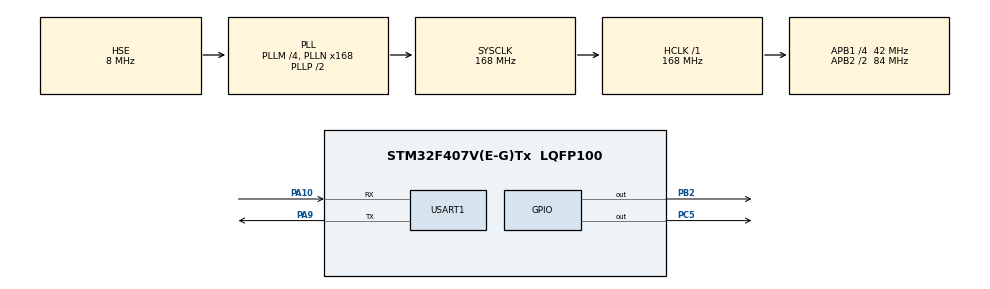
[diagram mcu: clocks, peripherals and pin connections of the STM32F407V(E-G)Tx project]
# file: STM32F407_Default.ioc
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ADC1.Channel-0\#ChannelRegularConversion=ADC_CHANNEL_TEMPSENSOR
ADC1.Channel-1\#ChannelRegularConversion=ADC_CHANNEL_VBAT
ADC1.ClockPrescaler=ADC_CLOCK_SYNC_PCLK_DIV4
ADC1.InjNumberOfConversion=0
ADC1.NbrOfConversion=2
ADC1.NbrOfConversionFlag=1
ADC1.Rank-0\#ChannelRegularConversion=1
ADC1.Rank-1\#ChannelRegularConversion=2
ADC1.SamplingTime-0\#ChannelRegularConversion=ADC_SAMPLETIME_480CYCLES
ADC1.SamplingTime-1\#ChannelRegularConversion=ADC_SAMPLETIME_480CYCLES
ADC1.master=1
Mcu.Family=STM32F4
Mcu.Name=STM32F407V(E-G)Tx
Mcu.Package=LQFP100
NVIC.PriorityGroup=NVIC_PRIORITYGROUP_4
NVIC.USART1_IRQn=true\:2\:0\:true\:false\:true\:true\:true\:true
PA10.Mode=Asynchronous
PA10.Signal=USART1_RX
PA13.Mode=Serial_Wire
PA13.Signal=SYS_JTMS-SWDIO
PA14.Mode=Serial_Wire
PA14.Signal=SYS_JTCK-SWCLK
PA9.Mode=Asynchronous
PA9.Signal=USART1_TX
PB2.GPIO_PuPd=GPIO_PULLDOWN
PB2.Signal=GPIO_Output
PC14-OSC32_IN.Mode=LSE-External-Oscillator
PC14-OSC32_IN.Signal=RCC_OSC32_IN
PC15-OSC32_OUT.Mode=LSE-External-Oscillator
PC15-OSC32_OUT.Signal=RCC_OSC32_OUT
PC5.GPIO_PuPd=GPIO_PULLDOWN
PC5.Signal=GPIO_Output
PH0-OSC_IN.Mode=HSE-External-Oscillator
PH0-OSC_IN.Signal=RCC_OSC_IN
PH1-OSC_OUT.Mode=HSE-External-Oscillator
PH1-OSC_OUT.Signal=RCC_OSC_OUT
ProjectManager.HeapSize=0x200
ProjectManager.StackSize=0x400
ProjectManager.TargetToolchain=Makefile
RCC.48MHZClocksFreq_Value=84000000
RCC.AHBFreq_Value=168000000
RCC.APB1CLKDivider=RCC_HCLK_DIV4
RCC.APB1Freq_Value=42000000
RCC.APB1TimFreq_Value=84000000
RCC.APB2CLKDivider=RCC_HCLK_DIV2
RCC.APB2Freq_Value=84000000
RCC.APB2TimFreq_Value=168000000
RCC.CortexFreq_Value=168000000
RCC.HCLKFreq_Value=168000000
RCC.HSE_VALUE=8000000
RCC.HSI_VALUE=16000000
RCC.PLLM=4
RCC.PLLN=168
RCC.PLLSourceVirtual=RCC_PLLSOURCE_HSE
RCC.RCC_RTC_Clock_Source=RCC_RTCCLKSOURCE_LSE
RCC.RCC_RTC_Clock_SourceVirtual=RCC_RTCCLKSOURCE_LSE
RCC.RCC_RTC_Clock_Source_FROM_HSE=RCC_RTCCLKSOURCE_HSE_DIV8
RCC.SYSCLKFreq_VALUE=168000000
RCC.SYSCLKSource=RCC_SYSCLKSOURCE_PLLCLK
RCC.VCOOutputFreq_Value=336000000
RTC.Date=2
RTC.Format=RTC_FORMAT_BIN
RTC.Hours=15
RTC.Minutes=20
RTC.Month=RTC_MONTH_OCTOBER
RTC.Seconds=30
RTC.WeekDay=RTC_WEEKDAY_FRIDAY
RTC.Year=26
USART1.VirtualMode=VM_ASYNC
VP_ADC1_TempSens_Input.Mode=IN-TempSens
VP_ADC1_Vbat_Input.Mode=IN-Vbat
VP_RTC_VS_RTC_Activate.Mode=RTC_Enabled
VP_RTC_VS_RTC_Calendar.Mode=RTC_Calendar
board=custom

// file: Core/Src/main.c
/* USER CODE BEGIN Header */
/**
  ******************************************************************************
  * @file           : main.c
  * @brief          : Main program body
  ******************************************************************************
  * @attention
  *
  * Copyright (c) 2026 STMicroelectronics.
  * All rights reserved.
  *
  * This software is licensed under terms that can be found in the LICENSE file
  * in the root directory of this software component.
  * If no LICENSE file comes with this software, it is provided AS-IS.
  *
  ******************************************************************************
  */
/* USER CODE END Header */
#include "main.h"
#include "adc.h"
#include "rtc.h"
#include "usart.h"
#include "gpio.h"

/* USER CODE BEGIN Includes */
#include "serial.h"
#include "lcd_shell.h"
/* USER CODE END Includes */

/* USER CODE BEGIN PTD */
#include "bsp_W25Q128.h"
#include "LCD_ILI9341.h"
#include "LCD_OLED_Style.h"
#include "led_cmd.h"
#include "adc_cmd.h"
/* USER CODE END PTD */

void SystemClock_Config(void);

int main(void)
{

  /* MCU Configuration--------------------------------------------------------*/

  /* Reset of all peripherals, Initializes the Flash interface and the Systick. */
  HAL_Init();

  /* Configure the system clock */
  SystemClock_Config();

  /* Initialize all configured peripherals */
  MX_GPIO_Init();
  MX_USART1_UART_Init();
  MX_RTC_Init();
  MX_ADC1_Init();
  /* USER CODE BEGIN 2 */
  W25Q128_Init();

  LCD_Init();
  LCD_SetDir(1);

  LCD_Fill(0, 0, xLCD.width - 1, xLCD.height - 1, BLACK);

  if (LcdShell_GetAutoStart())
  {
    LcdShell_SetEnabled(1);
    shell_init();
  }
  else
  {
    shell_init();
    PixelClock_SetOn(1);
  }

  Led_Cmd_Init();
  /* USER CODE END 2 */

  /* Infinite loop */
  while (1)
  {

    /* USER CODE BEGIN 3 */
    static RTC_TimeTypeDef t = {0};
    static RTC_DateTypeDef d = {0};
    static uint32_t last_rtc_tick = 0;

    if ((HAL_GetTick() - last_rtc_tick) >= 500)
    {
        last_rtc_tick = HAL_GetTick();
        HAL_RTC_GetTime(&hrtc, &t, RTC_FORMAT_BIN);
        HAL_RTC_GetDate(&hrtc, &d, RTC_FORMAT_BIN);
    }

    if (PixelClock_IsOn())
    {
      PixelClock_Render(t.Hours, t.Minutes, t.Seconds, d.Year, d.Month, d.Date);
    }

    Led_Alternate_Update();
    Temp_BackgroundUpdate();

    shell_task();
  }
  /* USER CODE END 3 */
}

void SystemClock_Config(void)
{
  RCC_OscInitTypeDef RCC_OscInitStruct = {0};
  RCC_ClkInitTypeDef RCC_ClkInitStruct = {0};

  /** Configure the main internal regulator output voltage
  */
  __HAL_RCC_PWR_CLK_ENABLE();
  __HAL_PWR_VOLTAGESCALING_CONFIG(PWR_REGULATOR_VOLTAGE_SCALE1);

  /** Initializes the RCC Oscillators according to the specified parameters
  * in the RCC_OscInitTypeDef structure.
  */
  RCC_OscInitStruct.OscillatorType = RCC_OSCILLATORTYPE_HSE|RCC_OSCILLATORTYPE_LSE;
  RCC_OscInitStruct.HSEState = RCC_HSE_ON;
  RCC_OscInitStruct.LSEState = RCC_LSE_ON;
  RCC_OscInitStruct.PLL.PLLState = RCC_PLL_ON;
  RCC_OscInitStruct.PLL.PLLSource = RCC_PLLSOURCE_HSE;
  RCC_OscInitStruct.PLL.PLLM = 4;
  RCC_OscInitStruct.PLL.PLLN = 168;
  RCC_OscInitStruct.PLL.PLLP = RCC_PLLP_DIV2;
  RCC_OscInitStruct.PLL.PLLQ = 4;
  if (HAL_RCC_OscConfig(&RCC_OscInitStruct) != HAL_OK)
  {
    Error_Handler();
  }

  /** Initializes the CPU, AHB and APB buses clocks
  */
  RCC_ClkInitStruct.ClockType = RCC_CLOCKTYPE_HCLK|RCC_CLOCKTYPE_SYSCLK
                              |RCC_CLOCKTYPE_PCLK1|RCC_CLOCKTYPE_PCLK2;
  RCC_ClkInitStruct.SYSCLKSource = RCC_SYSCLKSOURCE_PLLCLK;
  RCC_ClkInitStruct.AHBCLKDivider = RCC_SYSCLK_DIV1;
  RCC_ClkInitStruct.APB1CLKDivider = RCC_HCLK_DIV4;
  RCC_ClkInitStruct.APB2CLKDivider = RCC_HCLK_DIV2;

  if (HAL_RCC_ClockConfig(&RCC_ClkInitStruct, FLASH_LATENCY_5) != HAL_OK)
  {
    Error_Handler();
  }
}

void Error_Handler(void)
{
  __disable_irq();
  while (1)
  {
  }
}
